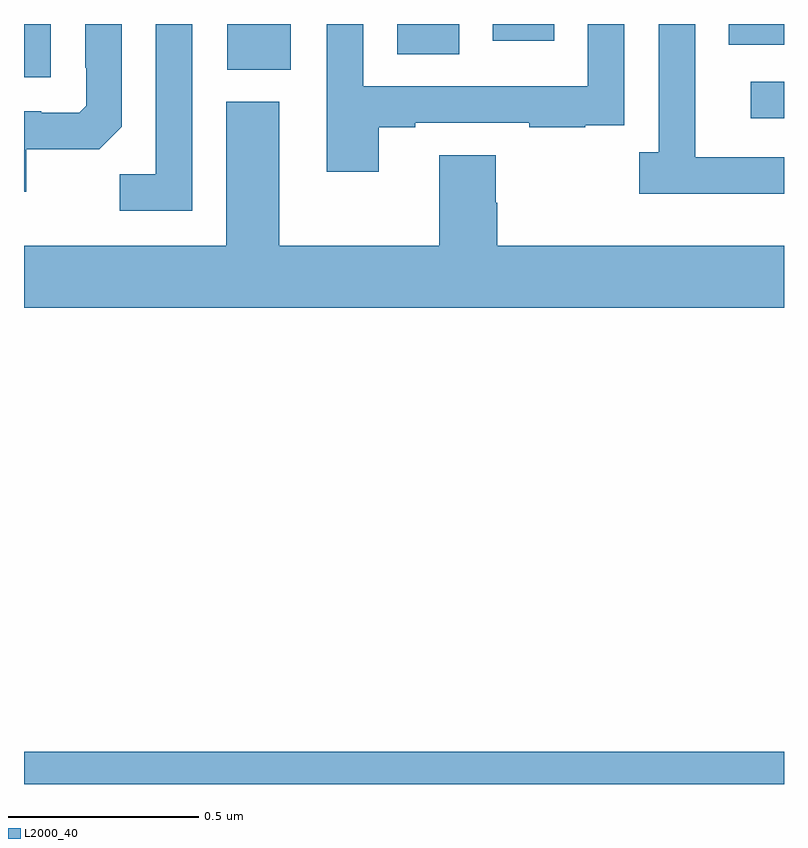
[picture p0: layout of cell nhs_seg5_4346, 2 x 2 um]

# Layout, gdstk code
import gdstk
lib = gdstk.Library(unit=1e-6, precision=1e-09)
def R(c, l, rs):  # rectangles x0, y0, x1, y1
    for r in rs: c.add(gdstk.rectangle(r[:2], r[2:], *l))
def P(c, l, *ps):  # polygons
    for p in ps: c.add(gdstk.Polygon(p, *l))
L2000_40 = (2000, 40)

nhs_seg5_4346 = lib.new_cell('nhs_seg5_4346')
R(nhs_seg5_4346, L2000_40, [(169,896.799,171,896.884), (170.913,898.551,171,898.647), (169,898.659,169.071,898.799), (169.535,898.679,169.702,898.799), (169.982,898.72,170.146,898.799), (170.855,898.745,171,898.799), (170.234,898.755,170.395,898.799)])
P(nhs_seg5_4346, L2000_40, [(169.006,898.469),(169.198,898.469),(169.257,898.528),(169.257,898.799),(169.161,898.799),(169.161,898.684),(169.164,898.684),(169.164,898.584),(169.146,898.566),(169.046,898.566),(169.046,898.57),(169,898.57),(169,898.358),(169.006,898.358)],
  [(169.443,898.799),(169.347,898.799),(169.347,898.403),(169.252,898.403),(169.252,898.308),(169.443,898.308)],
  [(169.933,898.527),(170.029,898.527),(170.029,898.539),(170.329,898.539),(170.329,898.527),(170.477,898.527),(170.477,898.533),(170.579,898.533),(170.579,898.642),(170.58,898.642),(170.58,898.799),(170.484,898.799),(170.484,898.635),(169.893,898.635),(169.893,898.799),(169.797,898.799),(169.797,898.41),(169.933,898.41)],
  [(171,898.449),(170.767,898.449),(170.767,898.649),(170.766,898.649),(170.766,898.799),(170.67,898.799),(170.67,898.462),(170.619,898.462),(170.619,898.352),(171,898.352)],
  [(171,898.216),(170.246,898.216),(170.246,898.329),(170.241,898.329),(170.241,898.454),(170.093,898.454),(170.093,898.216),(169.672,898.216),(169.672,898.594),(169.532,898.594),(169.532,898.216),(169,898.216),(169,898.052),(171,898.052)])

lib.write_gds('nhs_seg5_4346.gds')
